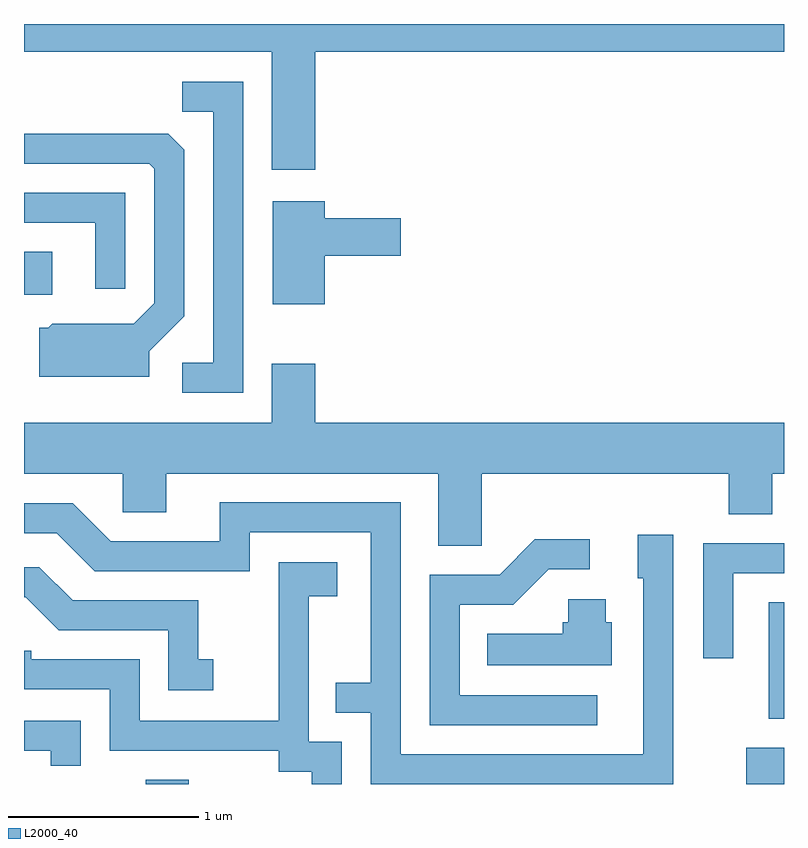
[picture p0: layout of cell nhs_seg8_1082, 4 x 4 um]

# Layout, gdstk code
import gdstk
lib = gdstk.Library(unit=1e-6, precision=1e-09)
def R(c, l, rs):  # rectangles x0, y0, x1, y1
    for r in rs: c.add(gdstk.rectangle(r[:2], r[2:], *l))
def P(c, l, *ps):  # polygons
    for p in ps: c.add(gdstk.Polygon(p, *l))
L2000_40 = (2000, 40)

nhs_seg8_1082 = lib.new_cell('nhs_seg8_1082')
R(nhs_seg8_1082, L2000_40, [(218.251,1830.342,218.479,1830.364), (221.411,1830.342,221.611,1830.534), (221.531,1830.686,221.611,1831.299), (217.611,1832.916,217.759,1833.144)])
P(nhs_seg8_1082, L2000_40, [(219.144,1834.196),(221.611,1834.196),(221.611,1834.342),(217.611,1834.342),(217.611,1834.196),(218.916,1834.196),(218.916,1833.576),(219.144,1833.576)],
  [(218.764,1834.039),(218.443,1834.039),(218.443,1833.881),(218.606,1833.881),(218.606,1832.559),(218.443,1832.559),(218.443,1832.401),(218.764,1832.401)],
  [(218.269,1832.619),(218.454,1832.804),(218.454,1833.679),(218.369,1833.764),(217.611,1833.764),(217.611,1833.606),(218.269,1833.606),(218.296,1833.579),(218.296,1832.872),(218.189,1832.764),(217.759,1832.764),(217.739,1832.744),(217.691,1832.744),(217.691,1832.486),(218.269,1832.486)],
  [(218.144,1833.454),(217.611,1833.454),(217.611,1833.296),(217.986,1833.296),(217.986,1832.948),(218.144,1832.948)],
  [(219.194,1833.121),(219.594,1833.121),(219.594,1833.319),(219.194,1833.319),(219.194,1833.409),(218.921,1833.409),(218.921,1832.866),(219.194,1832.866)],
  [(220.019,1831.976),(221.321,1831.976),(221.321,1831.761),(221.549,1831.761),(221.549,1831.976),(221.611,1831.976),(221.611,1832.244),(219.144,1832.244),(219.144,1832.554),(218.916,1832.554),(218.916,1832.244),(217.611,1832.244),(217.611,1831.976),(218.131,1831.976),(218.131,1831.771),(218.359,1831.771),(218.359,1831.976),(219.791,1831.976),(219.791,1831.596),(220.019,1831.596)],
  [(221.029,1831.654),(220.841,1831.654),(220.841,1831.426),(220.871,1831.426),(220.871,1830.499),(219.594,1830.499),(219.594,1831.824),(218.641,1831.824),(218.641,1831.619),(218.067,1831.619),(217.867,1831.819),(217.611,1831.819),(217.611,1831.661),(217.784,1831.661),(217.984,1831.461),(218.799,1831.461),(218.799,1831.666),(219.436,1831.666),(219.436,1830.874),(219.253,1830.874),(219.253,1830.716),(219.436,1830.716),(219.436,1830.342),(221.029,1830.342)],
  [(220.628,1830.809),(219.904,1830.809),(219.904,1831.286),(220.187,1831.286),(220.372,1831.471),(220.588,1831.471),(220.588,1831.629),(220.299,1831.629),(220.114,1831.444),(219.746,1831.444),(219.746,1830.651),(220.628,1830.651)],
  [(221.344,1831.451),(221.611,1831.451),(221.611,1831.609),(221.186,1831.609),(221.186,1831.003),(221.344,1831.003)],
  [(219.284,1830.564),(219.109,1830.564),(219.109,1831.331),(219.259,1831.331),(219.259,1831.509),(218.951,1831.509),(218.951,1830.674),(218.219,1830.674),(218.219,1830.999),(217.649,1830.999),(217.649,1831.044),(217.611,1831.044),(217.611,1830.841),(218.061,1830.841),(218.061,1830.516),(218.951,1830.516),(218.951,1830.406),(219.126,1830.406),(219.126,1830.342),(219.284,1830.342)],
  [(218.608,1830.999),(218.529,1830.999),(218.529,1831.309),(217.867,1831.309),(217.692,1831.484),(217.611,1831.484),(217.611,1831.326),(217.619,1831.326),(217.794,1831.151),(218.371,1831.151),(218.371,1830.836),(218.608,1830.836)],
  [(220.704,1831.194),(220.674,1831.194),(220.674,1831.314),(220.476,1831.314),(220.476,1831.194),(220.446,1831.194),(220.446,1831.134),(220.048,1831.134),(220.048,1830.966),(220.704,1830.966)],
  [(217.909,1830.674),(217.611,1830.674),(217.611,1830.516),(217.751,1830.516),(217.751,1830.438),(217.909,1830.438)])

lib.write_gds('nhs_seg8_1082.gds')
